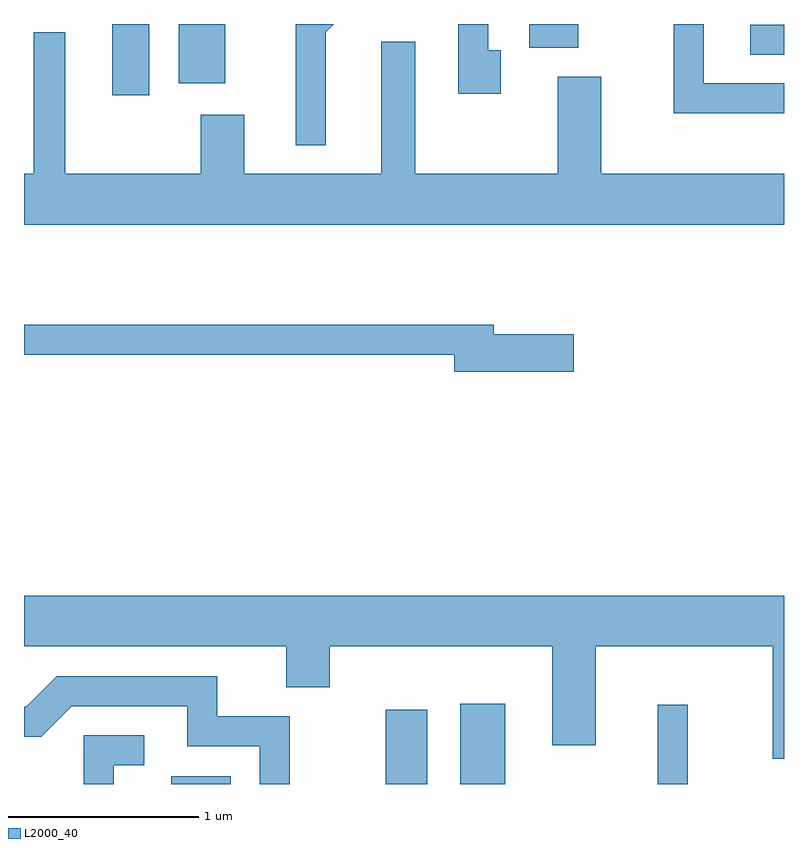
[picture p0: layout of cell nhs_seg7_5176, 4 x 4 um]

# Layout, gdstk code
import gdstk
lib = gdstk.Library(unit=1e-6, precision=1e-09)
def R(c, l, rs):  # rectangles x0, y0, x1, y1
    for r in rs: c.add(gdstk.rectangle(r[:2], r[2:], *l))
def P(c, l, *ps):  # polygons
    for p in ps: c.add(gdstk.Polygon(p, *l))
L2000_40 = (2000, 40)

nhs_seg7_5176 = lib.new_cell('nhs_seg7_5176')
R(nhs_seg7_5176, L2000_40, [(344.386,1720.252,344.699,1720.294), (345.516,1720.252,345.734,1720.644), (345.906,1720.252,346.144,1720.674), (346.946,1720.252,347.104,1720.668), (344.076,1723.876,344.269,1724.252), (344.426,1723.941,344.669,1724.252), (347.433,1724.091,347.611,1724.249), (346.271,1724.126,346.529,1724.252)])
P(nhs_seg7_5176, L2000_40, [(346.119,1724.114),(346.054,1724.114),(346.054,1724.252),(345.896,1724.252),(345.896,1723.886),(346.119,1723.886)],
  [(345.199,1724.209),(345.242,1724.252),(345.041,1724.252),(345.041,1723.613),(345.199,1723.613)],
  [(347.611,1723.939),(347.189,1723.939),(347.189,1724.252),(347.031,1724.252),(347.031,1723.781),(347.611,1723.781)],
  [(347.611,1723.464),(346.649,1723.464),(346.649,1723.974),(346.421,1723.974),(346.421,1723.464),(345.669,1723.464),(345.669,1724.159),(345.491,1724.159),(345.491,1723.464),(344.769,1723.464),(344.769,1723.774),(344.541,1723.774),(344.541,1723.464),(343.829,1723.464),(343.829,1724.208),(343.661,1724.208),(343.661,1723.464),(343.611,1723.464),(343.611,1723.196),(347.611,1723.196)],
  [(346.504,1722.619),(346.084,1722.619),(346.084,1722.669),(343.611,1722.669),(343.611,1722.511),(345.876,1722.511),(345.876,1722.421),(346.504,1722.421)],
  [(347.611,1721.244),(343.611,1721.244),(343.611,1720.976),(344.991,1720.976),(344.991,1720.761),(345.219,1720.761),(345.219,1720.976),(346.391,1720.976),(346.391,1720.456),(346.619,1720.456),(346.619,1720.976),(347.551,1720.976),(347.551,1720.386),(347.611,1720.386)],
  [(345.009,1720.609),(344.629,1720.609),(344.629,1720.819),(343.784,1720.819),(343.624,1720.659),(343.611,1720.659),(343.611,1720.501),(343.702,1720.501),(343.862,1720.661),(344.471,1720.661),(344.471,1720.451),(344.851,1720.451),(344.851,1720.252),(345.009,1720.252)],
  [(344.084,1720.351),(344.243,1720.351),(344.243,1720.509),(343.926,1720.509),(343.926,1720.252),(344.084,1720.252)])

lib.write_gds('nhs_seg7_5176.gds')
